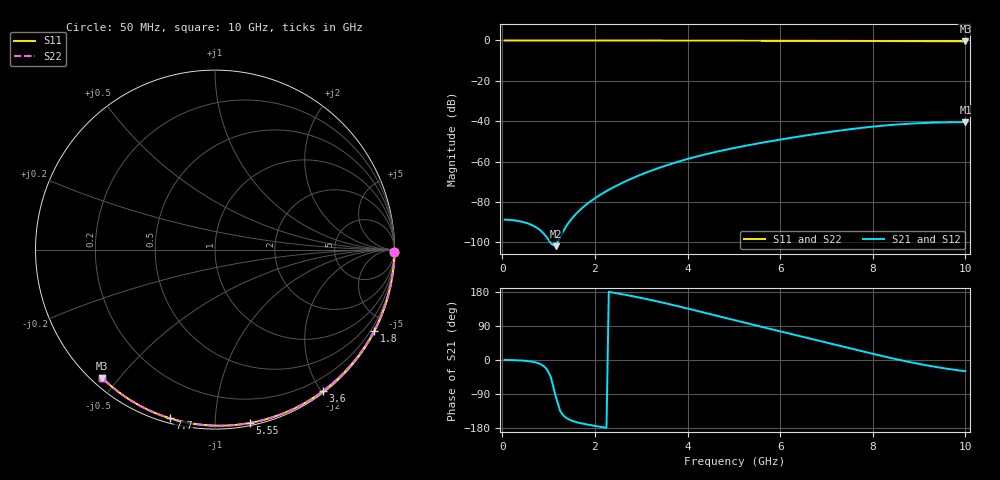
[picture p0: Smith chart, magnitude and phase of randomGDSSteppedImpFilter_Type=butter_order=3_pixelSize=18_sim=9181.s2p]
! freq	dB(S11)	phase(S11)	dB(S12)	phase(S12)
!  dB(S21)	phase(S21)	dB(S22)	phase(S22)
!S-par simulation data
#  GHz  S  DB  R 50
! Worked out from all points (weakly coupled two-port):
!   200 points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, 50 MHz to 10 GHz, reference 50 ohm
!   highest |S21| = -40.47 dB at 10 GHz (marker M1); lowest = -102.0 dB at 1.15 GHz (marker M2)
!   lowest |S11| = -0.4 dB at 10 GHz (marker M3), VSWR 40.78, Z = 1.48 - j22.6 ohm
!   |S11| at or under -10 dB: nowhere
!   |S22| runs from -0.4 to 0.0 dB; largest |S21 - S12| = 0
!   S11 on the Smith chart (normalised r, x): 50 MHz: open; 1.8 GHz: 0.04, -4.17; 3.6 GHz: 0.02, -2.02; 5.55 GHz: 0.02, -1.22; 7.7 GHz: 0.02, -0.77; 10 GHz: 0.03, -0.45
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0.05  -0.00 -0.8  -88.82 0.3  -88.82 0.3  -0.00 -0.8
0.6  -0.01 -9.1  -91.12 -3.5  -91.12 -3.5  -0.01 -9.1
1.15  -0.02 -17.3  -101.96 -94.6  -101.96 -94.6  -0.02 -17.3
1.75  -0.03 -26.2  -82.55 -168.2  -82.55 -168.2  -0.03 -26.2
1.8  -0.03 -26.9  -81.59 -169.4  -81.59 -169.4  -0.03 -26.9
1.9  -0.04 -28.4  -79.83 -171.7  -79.83 -171.7  -0.04 -28.4
2.05  -0.04 -30.6  -77.46 -174.9  -77.46 -174.9  -0.04 -30.6
2.25  -0.04 -33.5  -74.66 -179.1  -74.66 -179.1  -0.04 -33.5
2.65  -0.05 -39.3  -69.93 172.2  -69.93 172.2  -0.05 -39.3
3  -0.06 -44.3  -66.46 163.8  -66.46 163.8  -0.06 -44.3
3.4  -0.07 -49.9  -63.03 153.2  -63.03 153.2  -0.07 -49.9
3.6  -0.07 -52.7  -61.50 147.6  -61.50 147.6  -0.07 -52.7
3.9  -0.08 -56.8  -59.41 138.9  -59.41 138.9  -0.08 -56.8
4.3  -0.09 -62.3  -56.95 126.9  -56.95 126.9  -0.09 -62.3
5.05  -0.11 -72.2  -53.10 104.1  -53.10 104.1  -0.11 -72.2
5.55  -0.13 -78.7  -50.93 89.0  -50.93 89.0  -0.13 -78.7
6.1  -0.15 -85.6  -48.76 72.7  -48.76 72.7  -0.15 -85.6
6.7  -0.18 -93.1  -46.58 54.9  -46.58 54.9  -0.18 -93.1
7.7  -0.24 -105.1  -43.47 25.2  -43.47 25.2  -0.24 -105.1
8.35  -0.29 -112.7  -41.97 6.4  -41.97 6.4  -0.29 -112.7
9.15  -0.35 -121.8  -40.86 -13.8  -40.86 -13.8  -0.35 -121.8
10  -0.43 -131.3  -40.47 -29.6  -40.47 -29.6  -0.43 -131.3
